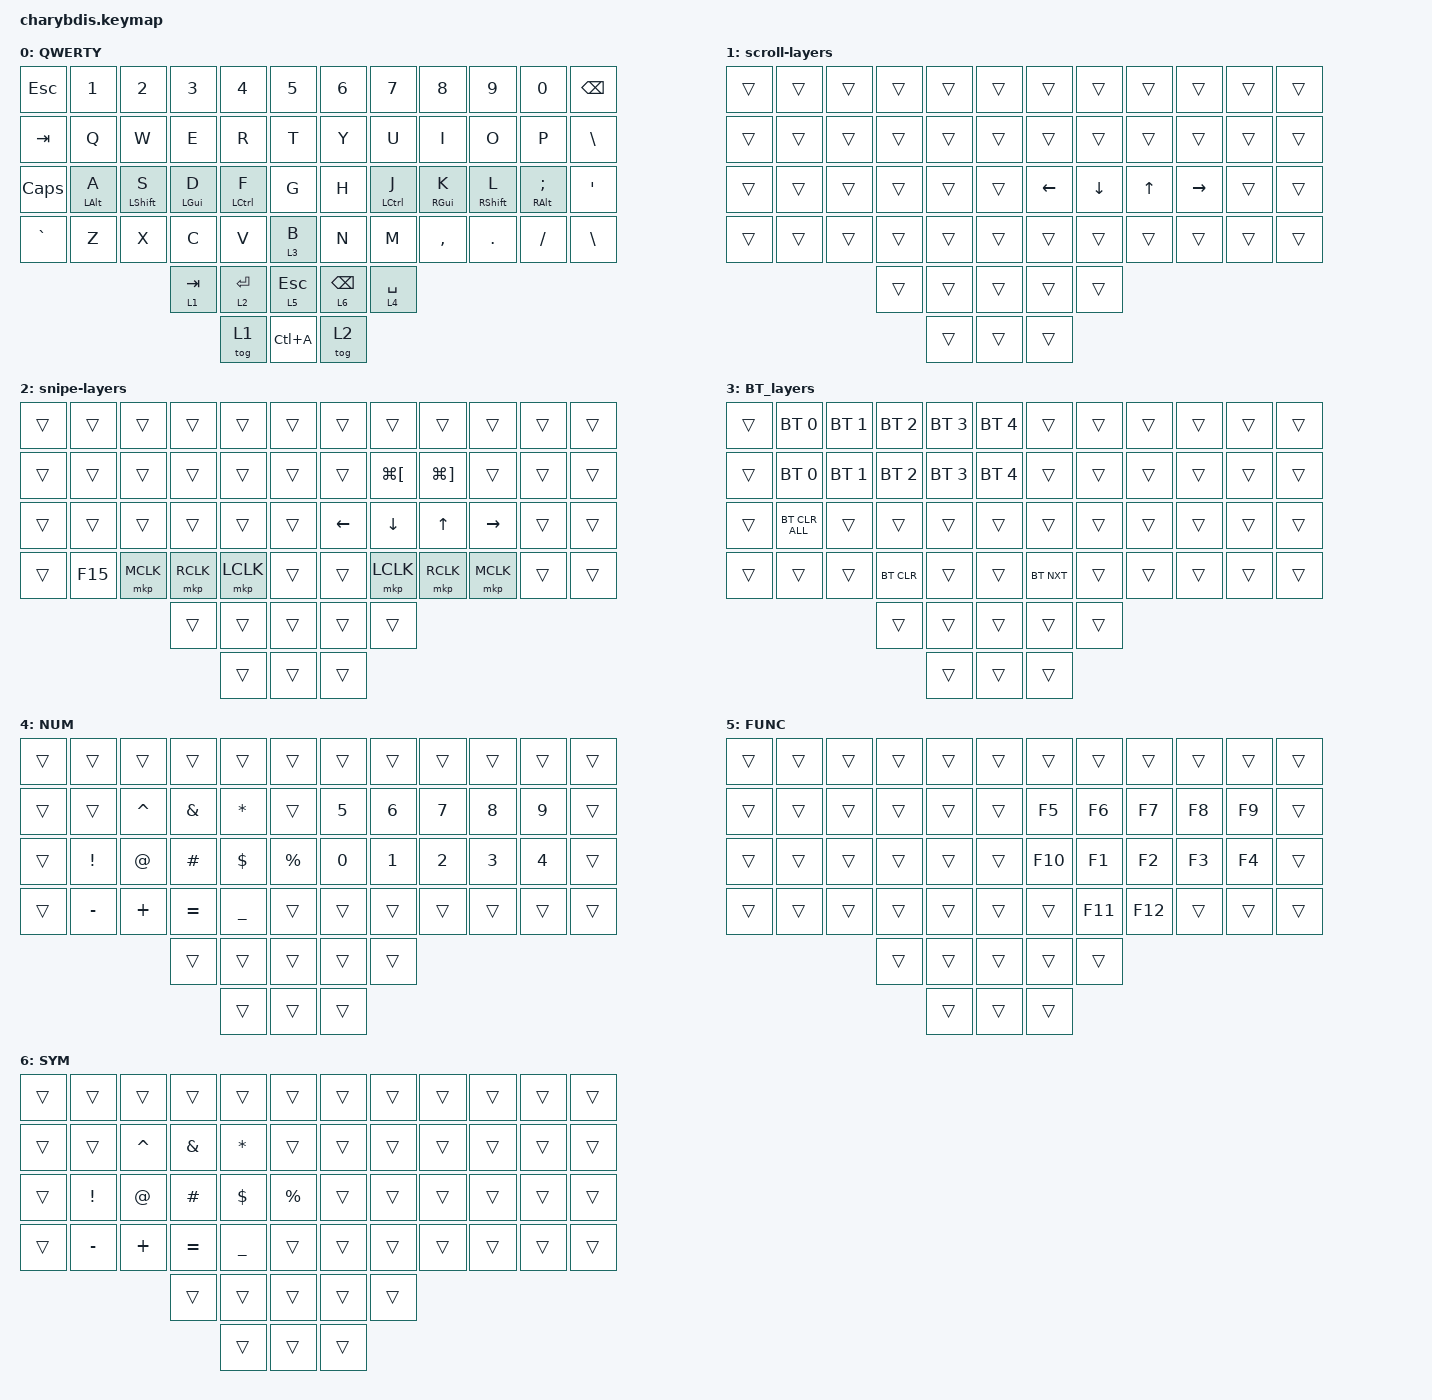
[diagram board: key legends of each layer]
#include <behaviors.dtsi>
#include <dt-bindings/zmk/bt.h>
#include <dt-bindings/zmk/keys.h>
#include <dt-bindings/zmk/pointing.h>
#include <dt-bindings/zmk/rgb.h>

&lt {
    tapping-term-ms = <200>;
    flavor = "balanced";
    quick-tap-ms = <150>;
};

&tog { toggle-mode = "flip"; };

/ {
    macros {
        To1_macro: To1_macro {
            compatible = "zmk,behavior-macro";
            label = "To1_macro";
            #binding-cells = <0>;
            bindings = <&rgb_ug RGB_EFF &rgb_ug RGB_COLOR_HSB(128,100,50) &to 0>;
        };

        To0_macro: To0_macro {
            compatible = "zmk,behavior-macro";
            label = "To0_macro";
            #binding-cells = <0>;
            bindings = <&rgb_ug RGB_EFR &to 0>;
        };

        To2_macro: To2_macro {
            compatible = "zmk,behavior-macro";
            label = "To2_macro";
            #binding-cells = <0>;
            bindings =
                <&to 3>,
                <&macro_wait_time 30>,
                <&rgb_ug RGB_COLOR_HSB(250,100,50)>;
        };
    };

    combos {
        compatible = "zmk,combos";

        copy {
            bindings = <&kp LG(C)>;
            key-positions = <38 39>;
            require-prior-idle-ms = <100>;
        };

        cut {
            bindings = <&kp LG(X)>;
            key-positions = <38 37>;
            require-prior-idle-ms = <100>;
        };

        paste {
            bindings = <&kp LG(V)>;
            key-positions = <39 40>;
            require-prior-idle-ms = <100>;
            slow-release;
        };

        left_desk {
            bindings = <&kp LC(LEFT)>;
            key-positions = <26 27>;
            require-prior-idle-ms = <100>;
        };

        right_desk {
            bindings = <&kp LC(RIGHT)>;
            key-positions = <28 27>;
            require-prior-idle-ms = <100>;
        };

        mission_control {
            bindings = <&kp LC(UP_ARROW)>;
            key-positions = <26 27 28>;
            require-prior-idle-ms = <100>;
        };

        left_win {
            bindings = <&kp LG(GRAVE)>;
            key-positions = <25 26>;
            require-prior-idle-ms = <100>;
        };

        right_win {
            bindings = <&kp LG(LS(GRAVE))>;
            key-positions = <34 33>;
            require-prior-idle-ms = <100>;
        };

        left_parenthesis {
            bindings = <&kp LEFT_PARENTHESIS>;
            key-positions = <31 32>;
            require-prior-idle-ms = <100>;
        };

        right_parenthesis {
            bindings = <&kp RIGHT_PARENTHESIS>;
            key-positions = <32 33>;
            require-prior-idle-ms = <100>;
        };

        left_brace {
            bindings = <&kp LEFT_BRACE>;
            key-positions = <43 44>;
            require-prior-idle-ms = <100>;
        };

        right_brace {
            bindings = <&kp RIGHT_BRACE>;
            key-positions = <44 45>;
            require-prior-idle-ms = <100>;
        };

        left_bracket {
            bindings = <&kp LEFT_BRACKET>;
            key-positions = <19 20>;
            require-prior-idle-ms = <100>;
        };

        right_bracket {
            bindings = <&kp RIGHT_BRACKET>;
            key-positions = <20 21>;
            require-prior-idle-ms = <100>;
        };

        lefthalf {
            bindings = <&kp LA(LG(LEFT))>;
            key-positions = <14 15>;
            require-prior-idle-ms = <100>;
        };

        righthalf {
            bindings = <&kp LA(LG(RIGHT))>;
            key-positions = <16 15>;
            require-prior-idle-ms = <100>;
        };

        full_win {
            bindings = <&kp LA(LG(F))>;
            key-positions = <16 15 14>;
            require-prior-idle-ms = <100>;
        };

        trans_lang {
            bindings = <&kp LC(SPACE)>;
            key-positions = <49 52>;
        };

        prev_tab {
            bindings = <&kp LG(LS(LEFT_BRACKET))>;
            key-positions = <31 32 33>;
        };

        next_tab {
            bindings = <&kp LG(LS(RIGHT_BRACKET))>;
            key-positions = <20 21 19>;
        };
    };

    behaviors {
        hm: homerow_mods {
            compatible = "zmk,behavior-hold-tap";
            label = "HOMEROW_MODS";
            bindings = <&kp>, <&kp>;

            #binding-cells = <2>;
            tapping-term-ms = <200>;
            quick-tap-ms = <130>;
            flavor = "tap-preferred";
        };

        td_copy: td_copy {
            compatible = "zmk,behavior-tap-dance";
            label = "TD_COPY";
            #binding-cells = <0>;
            bindings = <&kp LG(C)>, <&ht_test LG(V) LG(X)>;

            tapping-term-ms = <350>;
        };

        ht_test: ht_test {
            compatible = "zmk,behavior-hold-tap";
            label = "HT_TEST";
            bindings = <&kp>, <&kp>;

            #binding-cells = <2>;
            tapping-term-ms = <350>;
            flavor = "tap-preferred";
        };

        OSM_shift: OSM_shift {
            compatible = "zmk,behavior-sticky-key";
            label = "OSM_SHIFT";
            bindings = <&kp>;
            #binding-cells = <1>;
            release-after-ms = <200>;
            quick-release;
        };

        hms: homerow_shift {
            compatible = "zmk,behavior-hold-tap";
            label = "HOMEROW_SHIFT";
            bindings = <&OSM_shift>, <&kp>;

            #binding-cells = <2>;
            tapping-term-ms = <200>;
            quick-tap-ms = <130>;
            flavor = "tap-preferred";
        };

        lt_thumb: lt_thumb {
            compatible = "zmk,behavior-hold-tap";
            label = "LT_THUMB";
            bindings = <&mo>, <&kp>;

            #binding-cells = <2>;
            tapping-term-ms = <200>;
            quick-tap-ms = <200>;
            flavor = "tap-preferred";
            retro-tap;
        };

        lt_alpha: lt_alpha {
            compatible = "zmk,behavior-hold-tap";
            label = "LT_ALPHA";
            bindings = <&mo>, <&kp>;

            #binding-cells = <2>;
            tapping-term-ms = <200>;
            quick-tap-ms = <200>;
            flavor = "tap-preferred";
        };

        hmc: homerow_ctrl {
            compatible = "zmk,behavior-hold-tap";
            label = "HOMEROW_CTRL";
            bindings = <&kp>, <&kp>;

            #binding-cells = <2>;
            tapping-term-ms = <200>;
            quick-tap-ms = <130>;
            flavor = "tap-preferred";
            hold-trigger-key-positions = <52 39 16 27 33 37 14 41 20 21 25 28 13 29>;
        };

        hmo: homerow_command {
            compatible = "zmk,behavior-hold-tap";
            label = "HOMEROW_COMMAND";
            bindings = <&kp>, <&kp>;

            #binding-cells = <2>;
            tapping-term-ms = <200>;
            quick-tap-ms = <130>;
            flavor = "tap-preferred";
            hold-trigger-key-positions = <37 38 39 40 25 14 16 33 31 32 30 17 41 28 22>;
        };
    };

    keymap {
        compatible = "zmk,keymap";

        QWERTY {
            bindings = <
&kp ESC       &kp N1          &kp N2        &kp N3           &kp N4             &kp N5             &kp N6                 &kp N7             &kp N8            &kp N9              &kp N0              &kp BACKSPACE
&kp TAB       &kp Q           &kp W         &kp E            &kp R              &kp T              &kp Y                  &kp U              &kp I             &kp O               &kp P               &kp BSLH
&kp CAPSLOCK  &hm LEFT_ALT A  &hms LSHFT S  &hmo LEFT_GUI D  &hmc LCTRL F       &kp G              &kp H                  &hmc LCTRL J       &hmo RIGHT_GUI K  &hms RIGHT_SHIFT L  &hm RIGHT_ALT SEMI  &kp SQT
&kp GRAVE     &kp Z           &kp X         &kp C            &kp V              &lt_alpha 3 B      &kp N                  &kp M              &kp COMMA         &kp DOT             &kp FSLH            &kp BACKSLASH
                                            &lt_alpha 1 TAB  &lt_alpha 2 ENTER  &lt_thumb 5 ESC    &lt_thumb 6 BACKSPACE  &lt_thumb 4 SPACE
                                                             &tog 1             &kp LC(A)          &tog 2
            >;
        };

        scroll-layers {
            bindings = <
&trans  &trans  &trans  &trans  &trans  &trans    &trans    &trans    &trans  &trans     &trans  &trans
&trans  &trans  &trans  &trans  &trans  &trans    &trans    &trans    &trans  &trans     &trans  &trans
&trans  &trans  &trans  &trans  &trans  &trans    &kp LEFT  &kp DOWN  &kp UP  &kp RIGHT  &trans  &trans
&trans  &trans  &trans  &trans  &trans  &trans    &trans    &trans    &trans  &trans     &trans  &trans
                        &trans  &trans  &trans    &trans    &trans
                                &trans  &trans    &trans
            >;
        };

        snipe-layers {
            bindings = <
&trans  &trans   &trans     &trans     &trans     &trans    &trans    &trans                &trans                 &trans     &trans  &trans
&trans  &trans   &trans     &trans     &trans     &trans    &trans    &kp LG(LEFT_BRACKET)  &kp LG(RIGHT_BRACKET)  &trans     &trans  &trans
&trans  &trans   &trans     &trans     &trans     &trans    &kp LEFT  &kp DOWN              &kp UP_ARROW           &kp RIGHT  &trans  &trans
&trans  &kp F15  &mkp MCLK  &mkp RCLK  &mkp LCLK  &trans    &trans    &mkp LCLK             &mkp RCLK              &mkp MCLK  &trans  &trans
                            &trans     &trans     &trans    &trans    &trans
                                       &trans     &trans    &trans
            >;
        };

        BT_layers {
            bindings = <
&trans  &bt BT_SEL 0    &bt BT_SEL 1  &bt BT_SEL 2  &bt BT_SEL 3  &bt BT_SEL 4    &trans      &trans  &trans  &trans  &trans  &trans
&trans  &bt BT_SEL 0    &bt BT_SEL 1  &bt BT_SEL 2  &bt BT_SEL 3  &bt BT_SEL 4    &trans      &trans  &trans  &trans  &trans  &trans
&trans  &bt BT_CLR_ALL  &trans        &trans        &trans        &trans          &trans      &trans  &trans  &trans  &trans  &trans
&trans  &trans          &trans        &bt BT_CLR    &trans        &trans          &bt BT_NXT  &trans  &trans  &trans  &trans  &trans
                                      &trans        &trans        &trans          &trans      &trans
                                                    &trans        &trans          &trans
            >;
        };

        NUM {
            bindings = <
&trans  &trans           &trans       &trans         &trans          &trans         &trans  &trans  &trans  &trans  &trans  &trans
&trans  &trans           &kp CARET    &kp AMPERSAND  &kp ASTERISK    &trans         &kp N5  &kp N6  &kp N7  &kp N8  &kp N9  &trans
&trans  &kp EXCLAMATION  &kp AT_SIGN  &kp POUND      &kp DOLLAR      &kp PERCENT    &kp N0  &kp N1  &kp N2  &kp N3  &kp N4  &trans
&trans  &kp MINUS        &kp PLUS     &kp EQUAL      &kp UNDERSCORE  &trans         &trans  &trans  &trans  &trans  &trans  &trans
                                      &trans         &trans          &trans         &trans  &trans
                                                     &trans          &trans         &trans
            >;
        };

        FUNC {
            bindings = <
&trans  &trans  &trans  &trans  &trans  &trans    &trans   &trans   &trans   &trans  &trans  &trans
&trans  &trans  &trans  &trans  &trans  &trans    &kp F5   &kp F6   &kp F7   &kp F8  &kp F9  &trans
&trans  &trans  &trans  &trans  &trans  &trans    &kp F10  &kp F1   &kp F2   &kp F3  &kp F4  &trans
&trans  &trans  &trans  &trans  &trans  &trans    &trans   &kp F11  &kp F12  &trans  &trans  &trans
                        &trans  &trans  &trans    &trans   &trans
                                &trans  &trans    &trans
            >;
        };

        SYM {
            bindings = <
&trans  &trans           &trans       &trans         &trans          &trans         &trans  &trans  &trans  &trans  &trans  &trans
&trans  &trans           &kp CARET    &kp AMPERSAND  &kp ASTERISK    &trans         &trans  &trans  &trans  &trans  &trans  &trans
&trans  &kp EXCLAMATION  &kp AT_SIGN  &kp POUND      &kp DOLLAR      &kp PERCENT    &trans  &trans  &trans  &trans  &trans  &trans
&trans  &kp MINUS        &kp PLUS     &kp EQUAL      &kp UNDERSCORE  &trans         &trans  &trans  &trans  &trans  &trans  &trans
                                      &trans         &trans          &trans         &trans  &trans
                                                     &trans          &trans         &trans
            >;
        };
    };
};
